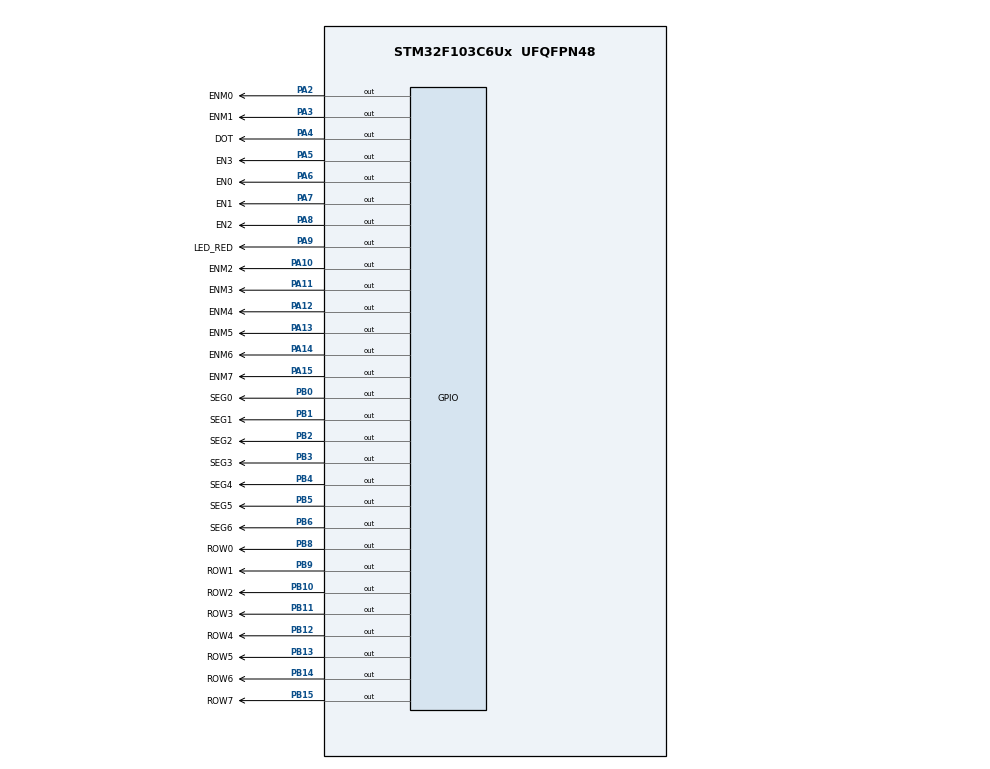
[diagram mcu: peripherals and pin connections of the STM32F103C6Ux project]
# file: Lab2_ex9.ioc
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Mcu.Family=STM32F1
Mcu.Name=STM32F103C6Ux
Mcu.Package=UFQFPN48
NVIC.PriorityGroup=NVIC_PRIORITYGROUP_4
NVIC.TIM2_IRQn=true\:0\:0\:false\:false\:true\:true\:true
PA10.GPIO_Label=ENM2
PA10.Signal=GPIO_Output
PA11.GPIO_Label=ENM3
PA11.Signal=GPIO_Output
PA12.GPIO_Label=ENM4
PA12.Signal=GPIO_Output
PA13.GPIO_Label=ENM5
PA13.Signal=GPIO_Output
PA14.GPIO_Label=ENM6
PA14.Signal=GPIO_Output
PA15.GPIO_Label=ENM7
PA15.Signal=GPIO_Output
PA2.GPIO_Label=ENM0
PA2.Signal=GPIO_Output
PA3.GPIO_Label=ENM1
PA3.Signal=GPIO_Output
PA4.GPIO_Label=DOT
PA4.Signal=GPIO_Output
PA5.GPIO_Label=EN3
PA5.Signal=GPIO_Output
PA6.GPIO_Label=EN0
PA6.Signal=GPIO_Output
PA7.GPIO_Label=EN1
PA7.Signal=GPIO_Output
PA8.GPIO_Label=EN2
PA8.Signal=GPIO_Output
PA9.GPIO_Label=LED_RED
PA9.Signal=GPIO_Output
PB0.GPIO_Label=SEG0
PB0.Signal=GPIO_Output
PB1.GPIO_Label=SEG1
PB1.Signal=GPIO_Output
PB10.GPIO_Label=ROW2
PB10.Signal=GPIO_Output
PB11.GPIO_Label=ROW3
PB11.Signal=GPIO_Output
PB12.GPIO_Label=ROW4
PB12.Signal=GPIO_Output
PB13.GPIO_Label=ROW5
PB13.Signal=GPIO_Output
PB14.GPIO_Label=ROW6
PB14.Signal=GPIO_Output
PB15.GPIO_Label=ROW7
PB15.Signal=GPIO_Output
PB2.GPIO_Label=SEG2
PB2.Signal=GPIO_Output
PB3.GPIO_Label=SEG3
PB3.Signal=GPIO_Output
PB4.GPIO_Label=SEG4
PB4.Signal=GPIO_Output
PB5.GPIO_Label=SEG5
PB5.Signal=GPIO_Output
PB6.GPIO_Label=SEG6
PB6.Signal=GPIO_Output
PB8.GPIO_Label=ROW0
PB8.Signal=GPIO_Output
PB9.GPIO_Label=ROW1
PB9.Signal=GPIO_Output
ProjectManager.HeapSize=0x200
ProjectManager.StackSize=0x400
ProjectManager.TargetToolchain=STM32CubeIDE
RCC.APB1Freq_Value=8000000
RCC.APB2Freq_Value=8000000
TIM2.Period=9
TIM2.Prescaler=7999
VP_SYS_VS_ND.Mode=No_Debug
VP_TIM2_VS_ClockSourceINT.Mode=Internal
board=custom

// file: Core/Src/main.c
/* USER CODE BEGIN Header */
/**
  ******************************************************************************
  * @file           : main.c
  * @brief          : Main program body
  ******************************************************************************
  * @attention
  *
  * <h2><center>&copy; Copyright (c) 2023 STMicroelectronics.
  * All rights reserved.</center></h2>
  *
  * This software component is licensed by ST under BSD 3-Clause license,
  * the "License"; You may not use this file except in compliance with the
  * License. You may obtain a copy of the License at:
  *                        opensource.org/licenses/BSD-3-Clause
  *
  ******************************************************************************
  */
/* USER CODE END Header */
#include "main.h"
#define MAX_LED_MATRIX  8

TIM_HandleTypeDef htim2;

void SystemClock_Config(void);
static void MX_GPIO_Init(void);
static void MX_TIM2_Init(void);

/* USER CODE BEGIN 0 */
enum LED_ENABLE_STATE {
	LED_0_EN = 0,
	LED_1_EN = 1,
	LED_2_EN = 2,
	LED_3_EN = 3
};
enum LED_ENABLE_STATE curLedState = LED_0_EN;
void display7SEG(int num) {
	switch(num) {
		case 0:
			HAL_GPIO_WritePin(SEG0_GPIO_Port, SEG0_Pin, 0);
			HAL_GPIO_WritePin(SEG1_GPIO_Port, SEG1_Pin, 0);
			HAL_GPIO_WritePin(SEG2_GPIO_Port, SEG2_Pin, 0);
			HAL_GPIO_WritePin(SEG3_GPIO_Port, SEG3_Pin, 0);
			HAL_GPIO_WritePin(SEG4_GPIO_Port, SEG4_Pin, 0);
			HAL_GPIO_WritePin(SEG5_GPIO_Port, SEG5_Pin, 0);
			HAL_GPIO_WritePin(SEG6_GPIO_Port, SEG6_Pin, 1);
			break;
		case 1:
			HAL_GPIO_WritePin(SEG0_GPIO_Port, SEG0_Pin, 1);
			HAL_GPIO_WritePin(SEG1_GPIO_Port, SEG1_Pin, 0);
			HAL_GPIO_WritePin(SEG2_GPIO_Port, SEG2_Pin, 0);
			HAL_GPIO_WritePin(SEG3_GPIO_Port, SEG3_Pin, 1);
			HAL_GPIO_WritePin(SEG4_GPIO_Port, SEG4_Pin, 1);
			HAL_GPIO_WritePin(SEG5_GPIO_Port, SEG5_Pin, 1);
			HAL_GPIO_WritePin(SEG6_GPIO_Port, SEG6_Pin, 1);
			break;
		case 2:
			HAL_GPIO_WritePin(SEG0_GPIO_Port, SEG0_Pin, 0);
			HAL_GPIO_WritePin(SEG1_GPIO_Port, SEG1_Pin, 0);
			HAL_GPIO_WritePin(SEG2_GPIO_Port, SEG2_Pin, 1);
			HAL_GPIO_WritePin(SEG3_GPIO_Port, SEG3_Pin, 0);
			HAL_GPIO_WritePin(SEG4_GPIO_Port, SEG4_Pin, 0);
			HAL_GPIO_WritePin(SEG5_GPIO_Port, SEG5_Pin, 1);
			HAL_GPIO_WritePin(SEG6_GPIO_Port, SEG6_Pin, 0);
			break;
		case 3:
			HAL_GPIO_WritePin(SEG0_GPIO_Port, SEG0_Pin, 0);
			HAL_GPIO_WritePin(SEG1_GPIO_Port, SEG1_Pin, 0);
			HAL_GPIO_WritePin(SEG2_GPIO_Port, SEG2_Pin, 0);
			HAL_GPIO_WritePin(SEG3_GPIO_Port, SEG3_Pin, 0);
			HAL_GPIO_WritePin(SEG4_GPIO_Port, SEG4_Pin, 1);
			HAL_GPIO_WritePin(SEG5_GPIO_Port, SEG5_Pin, 1);
			HAL_GPIO_WritePin(SEG6_GPIO_Port, SEG6_Pin, 0);
			break;
		case 4:
			HAL_GPIO_WritePin(SEG0_GPIO_Port, SEG0_Pin, 1);
			HAL_GPIO_WritePin(SEG1_GPIO_Port, SEG1_Pin, 0);
			HAL_GPIO_WritePin(SEG2_GPIO_Port, SEG2_Pin, 0);
			HAL_GPIO_WritePin(SEG3_GPIO_Port, SEG3_Pin, 1);
			HAL_GPIO_WritePin(SEG4_GPIO_Port, SEG4_Pin, 1);
			HAL_GPIO_WritePin(SEG5_GPIO_Port, SEG5_Pin, 0);
			HAL_GPIO_WritePin(SEG6_GPIO_Port, SEG6_Pin, 0);
			break;
		case 5:
			HAL_GPIO_WritePin(SEG0_GPIO_Port, SEG0_Pin, 0);
			HAL_GPIO_WritePin(SEG1_GPIO_Port, SEG1_Pin, 1);
			HAL_GPIO_WritePin(SEG2_GPIO_Port, SEG2_Pin, 0);
			HAL_GPIO_WritePin(SEG3_GPIO_Port, SEG3_Pin, 0);
			HAL_GPIO_WritePin(SEG4_GPIO_Port, SEG4_Pin, 1);
			HAL_GPIO_WritePin(SEG5_GPIO_Port, SEG5_Pin, 0);
			HAL_GPIO_WritePin(SEG6_GPIO_Port, SEG6_Pin, 0);
			break;
		case 6:
			HAL_GPIO_WritePin(SEG0_GPIO_Port, SEG0_Pin, 0);
			HAL_GPIO_WritePin(SEG1_GPIO_Port, SEG1_Pin, 1);
			HAL_GPIO_WritePin(SEG2_GPIO_Port, SEG2_Pin, 0);
			HAL_GPIO_WritePin(SEG3_GPIO_Port, SEG3_Pin, 0);
			HAL_GPIO_WritePin(SEG4_GPIO_Port, SEG4_Pin, 0);
			HAL_GPIO_WritePin(SEG5_GPIO_Port, SEG5_Pin, 0);
			HAL_GPIO_WritePin(SEG6_GPIO_Port, SEG6_Pin, 0);
			break;
		case 7:
			HAL_GPIO_WritePin(SEG0_GPIO_Port, SEG0_Pin, 0);
			HAL_GPIO_WritePin(SEG1_GPIO_Port, SEG1_Pin, 0);
			HAL_GPIO_WritePin(SEG2_GPIO_Port, SEG2_Pin, 0);
			HAL_GPIO_WritePin(SEG3_GPIO_Port, SEG3_Pin, 1);
			HAL_GPIO_WritePin(SEG4_GPIO_Port, SEG4_Pin, 1);
			HAL_GPIO_WritePin(SEG5_GPIO_Port, SEG5_Pin, 1);
			HAL_GPIO_WritePin(SEG6_GPIO_Port, SEG6_Pin, 1);
			break;
		case 8:
			HAL_GPIO_WritePin(SEG0_GPIO_Port, SEG0_Pin, 0);
			HAL_GPIO_WritePin(SEG1_GPIO_Port, SEG1_Pin, 0);
			HAL_GPIO_WritePin(SEG2_GPIO_Port, SEG2_Pin, 0);
			HAL_GPIO_WritePin(SEG3_GPIO_Port, SEG3_Pin, 0);
			HAL_GPIO_WritePin(SEG4_GPIO_Port, SEG4_Pin, 0);
			HAL_GPIO_WritePin(SEG5_GPIO_Port, SEG5_Pin, 0);
			HAL_GPIO_WritePin(SEG6_GPIO_Port, SEG6_Pin, 0);
			break;
		case 9:
			HAL_GPIO_WritePin(SEG0_GPIO_Port, SEG0_Pin, 0);
			HAL_GPIO_WritePin(SEG1_GPIO_Port, SEG1_Pin, 0);
			HAL_GPIO_WritePin(SEG2_GPIO_Port, SEG2_Pin, 0);
			HAL_GPIO_WritePin(SEG3_GPIO_Port, SEG3_Pin, 0);
			HAL_GPIO_WritePin(SEG4_GPIO_Port, SEG4_Pin, 1);
			HAL_GPIO_WritePin(SEG5_GPIO_Port, SEG5_Pin, 0);
			HAL_GPIO_WritePin(SEG6_GPIO_Port, SEG6_Pin, 0);
			break;
		default:
			HAL_GPIO_WritePin(SEG0_GPIO_Port, SEG0_Pin, 0);
			HAL_GPIO_WritePin(SEG1_GPIO_Port, SEG1_Pin, 0);
			HAL_GPIO_WritePin(SEG2_GPIO_Port, SEG2_Pin, 0);
			HAL_GPIO_WritePin(SEG3_GPIO_Port, SEG3_Pin, 0);
			HAL_GPIO_WritePin(SEG4_GPIO_Port, SEG4_Pin, 0);
			HAL_GPIO_WritePin(SEG5_GPIO_Port, SEG5_Pin, 0);
			HAL_GPIO_WritePin(SEG6_GPIO_Port, SEG6_Pin, 0);
			break;

	}
}
const int MAX_LED = 4;
int index_led = 0;
int led_buffer[4] = {1, 5, 0, 8};
void update7SEG(int index){
    switch (index){
		  case 0:
			  HAL_GPIO_WritePin(EN3_GPIO_Port, EN3_Pin, 1);
			  display7SEG(led_buffer[0]);
			  HAL_GPIO_WritePin(EN0_GPIO_Port, EN0_Pin, 0);
			  HAL_GPIO_WritePin(EN1_GPIO_Port, EN1_Pin, 1);
			  HAL_GPIO_WritePin(EN2_GPIO_Port, EN2_Pin, 1);
			  break;
		  case 1:
	  		  HAL_GPIO_WritePin(EN0_GPIO_Port, EN0_Pin, 1);
	  		  display7SEG(led_buffer[1]);
	  		  HAL_GPIO_WritePin(EN1_GPIO_Port, EN1_Pin, 0);
	  		  HAL_GPIO_WritePin(EN2_GPIO_Port, EN2_Pin, 1);
	  		  HAL_GPIO_WritePin(EN3_GPIO_Port, EN3_Pin, 1);
	  		  break;
	  	  case 2:
	  		  HAL_GPIO_WritePin(EN0_GPIO_Port, EN0_Pin, 1);
	  		  HAL_GPIO_WritePin(EN1_GPIO_Port, EN1_Pin, 1);
	  		  display7SEG(led_buffer[2]);
	  		  HAL_GPIO_WritePin(EN2_GPIO_Port, EN2_Pin, 0);
	  		  HAL_GPIO_WritePin(EN3_GPIO_Port, EN3_Pin, 1);
	  		  break;
	  	  case 3:
	  		  HAL_GPIO_WritePin(EN0_GPIO_Port, EN0_Pin, 1);
			  HAL_GPIO_WritePin(EN1_GPIO_Port, EN1_Pin, 1);
			  HAL_GPIO_WritePin(EN2_GPIO_Port, EN2_Pin, 1);
	  		  display7SEG(led_buffer[3]);
	  		  HAL_GPIO_WritePin(EN3_GPIO_Port, EN3_Pin, 0);
	  		  break;
        default:
            break;
    }
}
int hour = 15, minute = 8, second = 50;
int sencond_flag = 0;
int swap_led_flag = 0;
void updateClockBuffer() {
	int hour_decode_1 = hour / 10;
	int hour_decode_2 = hour % 10;
	int minute_decode_1 = minute / 10;
	int minute_decode_2 = minute % 10;
	led_buffer[0] = hour_decode_1;
	led_buffer[1] = hour_decode_2;
	led_buffer[2] = minute_decode_1;
	led_buffer[3] = minute_decode_2;
}

int rowScanning_flag = 0;
int charShifting_flag = 0;
int CHAR_A_TABLE[MAX_LED_MATRIX][MAX_LED_MATRIX] =
{
		{1, 1, 1, 0, 0, 1, 1, 1},
		{1, 1, 0, 1, 1, 0, 1, 1},
		{1, 1, 0, 1, 1, 0, 1, 1},
		{1, 0, 0, 1, 1, 0, 0, 1},
		{1, 0, 0, 0, 0, 0, 0, 1},
		{1, 0, 1, 1, 1, 1, 0, 1},
		{1, 0, 1, 1, 1, 1, 0, 1},
		{1, 0, 1, 1, 1, 1, 0, 1}
};
int index_led_matrix = 0;
int cursor_matrix = 0;
uint8_t matrix_buffer[8] = {0x01, 0x02, 0x03, 0x04, 0x05, 0x06, 0x07, 0x08};
void updateLEDMatrix(int index){
    switch (index){
        case 0:
        	HAL_GPIO_WritePin(ROW0_GPIO_Port, ROW0_Pin, RESET);
        	HAL_GPIO_WritePin(ROW1_GPIO_Port, ROW1_Pin, SET);
        	HAL_GPIO_WritePin(ROW2_GPIO_Port, ROW2_Pin, SET);
        	HAL_GPIO_WritePin(ROW3_GPIO_Port, ROW3_Pin, SET);
        	HAL_GPIO_WritePin(ROW4_GPIO_Port, ROW4_Pin, SET);
        	HAL_GPIO_WritePin(ROW5_GPIO_Port, ROW5_Pin, SET);
        	HAL_GPIO_WritePin(ROW6_GPIO_Port, ROW6_Pin, SET);
        	HAL_GPIO_WritePin(ROW7_GPIO_Port, ROW7_Pin, SET);
            break;
        case 1:
        	HAL_GPIO_WritePin(ROW0_GPIO_Port, ROW0_Pin, SET);
        	HAL_GPIO_WritePin(ROW1_GPIO_Port, ROW1_Pin, RESET);
        	HAL_GPIO_WritePin(ROW2_GPIO_Port, ROW2_Pin, SET);
        	HAL_GPIO_WritePin(ROW3_GPIO_Port, ROW3_Pin, SET);
        	HAL_GPIO_WritePin(ROW4_GPIO_Port, ROW4_Pin, SET);
        	HAL_GPIO_WritePin(ROW5_GPIO_Port, ROW5_Pin, SET);
        	HAL_GPIO_WritePin(ROW6_GPIO_Port, ROW6_Pin, SET);
        	HAL_GPIO_WritePin(ROW7_GPIO_Port, ROW7_Pin, SET);
            break;
        case 2:
        	HAL_GPIO_WritePin(ROW0_GPIO_Port, ROW0_Pin, SET);
        	HAL_GPIO_WritePin(ROW1_GPIO_Port, ROW1_Pin, SET);
        	HAL_GPIO_WritePin(ROW2_GPIO_Port, ROW2_Pin, RESET);
        	HAL_GPIO_WritePin(ROW3_GPIO_Port, ROW3_Pin, SET);
        	HAL_GPIO_WritePin(ROW4_GPIO_Port, ROW4_Pin, SET);
        	HAL_GPIO_WritePin(ROW5_GPIO_Port, ROW5_Pin, SET);
        	HAL_GPIO_WritePin(ROW6_GPIO_Port, ROW6_Pin, SET);
        	HAL_GPIO_WritePin(ROW7_GPIO_Port, ROW7_Pin, SET);
            break;
        case 3:
        	HAL_GPIO_WritePin(ROW0_GPIO_Port, ROW0_Pin, SET);
        	HAL_GPIO_WritePin(ROW1_GPIO_Port, ROW1_Pin, SET);
        	HAL_GPIO_WritePin(ROW2_GPIO_Port, ROW2_Pin, SET);
        	HAL_GPIO_WritePin(ROW3_GPIO_Port, ROW3_Pin, RESET);
        	HAL_GPIO_WritePin(ROW4_GPIO_Port, ROW4_Pin, SET);
        	HAL_GPIO_WritePin(ROW5_GPIO_Port, ROW5_Pin, SET);
        	HAL_GPIO_WritePin(ROW6_GPIO_Port, ROW6_Pin, SET);
        	HAL_GPIO_WritePin(ROW7_GPIO_Port, ROW7_Pin, SET);
            break;
        case 4:
        	HAL_GPIO_WritePin(ROW0_GPIO_Port, ROW0_Pin, SET);
        	HAL_GPIO_WritePin(ROW1_GPIO_Port, ROW1_Pin, SET);
        	HAL_GPIO_WritePin(ROW2_GPIO_Port, ROW2_Pin, SET);
        	HAL_GPIO_WritePin(ROW3_GPIO_Port, ROW3_Pin, SET);
        	HAL_GPIO_WritePin(ROW4_GPIO_Port, ROW4_Pin, RESET);
        	HAL_GPIO_WritePin(ROW5_GPIO_Port, ROW5_Pin, SET);
        	HAL_GPIO_WritePin(ROW6_GPIO_Port, ROW6_Pin, SET);
        	HAL_GPIO_WritePin(ROW7_GPIO_Port, ROW7_Pin, SET);
            break;
        case 5:
        	HAL_GPIO_WritePin(ROW0_GPIO_Port, ROW0_Pin, SET);
        	HAL_GPIO_WritePin(ROW1_GPIO_Port, ROW1_Pin, SET);
        	HAL_GPIO_WritePin(ROW2_GPIO_Port, ROW2_Pin, SET);
        	HAL_GPIO_WritePin(ROW3_GPIO_Port, ROW3_Pin, SET);
        	HAL_GPIO_WritePin(ROW4_GPIO_Port, ROW4_Pin, SET);
        	HAL_GPIO_WritePin(ROW5_GPIO_Port, ROW5_Pin, RESET);
        	HAL_GPIO_WritePin(ROW6_GPIO_Port, ROW6_Pin, SET);
        	HAL_GPIO_WritePin(ROW7_GPIO_Port, ROW7_Pin, SET);
            break;
        case 6:
        	HAL_GPIO_WritePin(ROW0_GPIO_Port, ROW0_Pin, SET);
        	HAL_GPIO_WritePin(ROW1_GPIO_Port, ROW1_Pin, SET);
        	HAL_GPIO_WritePin(ROW2_GPIO_Port, ROW2_Pin, SET);
        	HAL_GPIO_WritePin(ROW3_GPIO_Port, ROW3_Pin, SET);
        	HAL_GPIO_WritePin(ROW4_GPIO_Port, ROW4_Pin, SET);
        	HAL_GPIO_WritePin(ROW5_GPIO_Port, ROW5_Pin, SET);
        	HAL_GPIO_WritePin(ROW6_GPIO_Port, ROW6_Pin, RESET);
        	HAL_GPIO_WritePin(ROW7_GPIO_Port, ROW7_Pin, SET);
            break;
        case 7:
        	HAL_GPIO_WritePin(ROW0_GPIO_Port, ROW0_Pin, SET);
        	HAL_GPIO_WritePin(ROW1_GPIO_Port, ROW1_Pin, SET);
        	HAL_GPIO_WritePin(ROW2_GPIO_Port, ROW2_Pin, SET);
        	HAL_GPIO_WritePin(ROW3_GPIO_Port, ROW3_Pin, SET);
        	HAL_GPIO_WritePin(ROW4_GPIO_Port, ROW4_Pin, SET);
        	HAL_GPIO_WritePin(ROW5_GPIO_Port, ROW5_Pin, SET);
        	HAL_GPIO_WritePin(ROW6_GPIO_Port, ROW6_Pin, SET);
        	HAL_GPIO_WritePin(ROW7_GPIO_Port, ROW7_Pin, RESET);
            break;
        default:
            break;
    }
}
void ledMatrixDispRow(int elementColEnable[], int cursor) {
	if(cursor + 0 <= 7) {
		HAL_GPIO_WritePin(ENM0_GPIO_Port, ENM0_Pin, elementColEnable[0 + cursor]);
	}
	else HAL_GPIO_WritePin(ENM0_GPIO_Port, ENM0_Pin, 1);
	if(cursor + 1 <= 7) {
		HAL_GPIO_WritePin(ENM1_GPIO_Port, ENM1_Pin, elementColEnable[1 + cursor]);
	}
	else HAL_GPIO_WritePin(ENM1_GPIO_Port, ENM1_Pin, 1);
	if(cursor + 2 <= 7) {
		HAL_GPIO_WritePin(ENM2_GPIO_Port, ENM2_Pin, elementColEnable[2 + cursor]);
	}
	else HAL_GPIO_WritePin(ENM2_GPIO_Port, ENM2_Pin, 1);
	if(cursor + 3 <= 7) {
		HAL_GPIO_WritePin(ENM3_GPIO_Port, ENM3_Pin, elementColEnable[3 + cursor]);
	}
	else HAL_GPIO_WritePin(ENM3_GPIO_Port, ENM3_Pin, 1);
	if(cursor + 4 <= 7) {
		HAL_GPIO_WritePin(ENM4_GPIO_Port, ENM4_Pin, elementColEnable[4 + cursor]);
	}
	else HAL_GPIO_WritePin(ENM4_GPIO_Port, ENM4_Pin, 1);
	if(cursor + 5 <= 7) {
		HAL_GPIO_WritePin(ENM5_GPIO_Port, ENM5_Pin, elementColEnable[5 + cursor]);
	}
	else HAL_GPIO_WritePin(ENM5_GPIO_Port, ENM5_Pin, 1);
	if(cursor + 6 <= 7) {
		HAL_GPIO_WritePin(ENM6_GPIO_Port, ENM6_Pin, elementColEnable[6 + cursor]);
	}
	else HAL_GPIO_WritePin(ENM6_GPIO_Port, ENM6_Pin, 1);
	if(cursor + 7 <= 7) {
		HAL_GPIO_WritePin(ENM7_GPIO_Port, ENM7_Pin, elementColEnable[7 + cursor]);
	}
	else HAL_GPIO_WritePin(ENM7_GPIO_Port, ENM7_Pin, 1);
}
/* USER CODE END 0 */

int main(void)
{

  /* MCU Configuration--------------------------------------------------------*/

  /* Reset of all peripherals, Initializes the Flash interface and the Systick. */
  HAL_Init();

  /* Configure the system clock */
  SystemClock_Config();

  /* Initialize all configured peripherals */
  MX_GPIO_Init();
  MX_TIM2_Init();
  /* USER CODE BEGIN 2 */
  HAL_TIM_Base_Start_IT(&htim2);
  /* USER CODE END 2 */

  /* Infinite loop */
  while (1)
  {
	  if(rowScanning_flag) {
		  rowScanning_flag = 0;
		  updateLEDMatrix(index_led_matrix);
		  ledMatrixDispRow(CHAR_A_TABLE[index_led_matrix], cursor_matrix);
		  index_led_matrix = (index_led_matrix + 1) % MAX_LED_MATRIX;
	  }
	  if(charShifting_flag) {
		  charShifting_flag = 0;
		  cursor_matrix = (cursor_matrix + 1) % MAX_LED_MATRIX;

	  }
  }
}

void SystemClock_Config(void)
{
  RCC_OscInitTypeDef RCC_OscInitStruct = {0};
  RCC_ClkInitTypeDef RCC_ClkInitStruct = {0};

  /** Initializes the RCC Oscillators according to the specified parameters
  * in the RCC_OscInitTypeDef structure.
  */
  RCC_OscInitStruct.OscillatorType = RCC_OSCILLATORTYPE_HSI;
  RCC_OscInitStruct.HSIState = RCC_HSI_ON;
  RCC_OscInitStruct.HSICalibrationValue = RCC_HSICALIBRATION_DEFAULT;
  RCC_OscInitStruct.PLL.PLLState = RCC_PLL_NONE;
  if (HAL_RCC_OscConfig(&RCC_OscInitStruct) != HAL_OK)
  {
    Error_Handler();
  }
  /** Initializes the CPU, AHB and APB buses clocks
  */
  RCC_ClkInitStruct.ClockType = RCC_CLOCKTYPE_HCLK|RCC_CLOCKTYPE_SYSCLK
                              |RCC_CLOCKTYPE_PCLK1|RCC_CLOCKTYPE_PCLK2;
  RCC_ClkInitStruct.SYSCLKSource = RCC_SYSCLKSOURCE_HSI;
  RCC_ClkInitStruct.AHBCLKDivider = RCC_SYSCLK_DIV1;
  RCC_ClkInitStruct.APB1CLKDivider = RCC_HCLK_DIV1;
  RCC_ClkInitStruct.APB2CLKDivider = RCC_HCLK_DIV1;

  if (HAL_RCC_ClockConfig(&RCC_ClkInitStruct, FLASH_LATENCY_0) != HAL_OK)
  {
    Error_Handler();
  }
}

static void MX_TIM2_Init(void)
{

  TIM_ClockConfigTypeDef sClockSourceConfig = {0};
  TIM_MasterConfigTypeDef sMasterConfig = {0};

  htim2.Instance = TIM2;
  htim2.Init.Prescaler = 7999;
  htim2.Init.CounterMode = TIM_COUNTERMODE_UP;
  htim2.Init.Period = 9;
  htim2.Init.ClockDivision = TIM_CLOCKDIVISION_DIV1;
  htim2.Init.AutoReloadPreload = TIM_AUTORELOAD_PRELOAD_DISABLE;
  if (HAL_TIM_Base_Init(&htim2) != HAL_OK)
  {
    Error_Handler();
  }
  sClockSourceConfig.ClockSource = TIM_CLOCKSOURCE_INTERNAL;
  if (HAL_TIM_ConfigClockSource(&htim2, &sClockSourceConfig) != HAL_OK)
  {
    Error_Handler();
  }
  sMasterConfig.MasterOutputTrigger = TIM_TRGO_RESET;
  sMasterConfig.MasterSlaveMode = TIM_MASTERSLAVEMODE_DISABLE;
  if (HAL_TIMEx_MasterConfigSynchronization(&htim2, &sMasterConfig) != HAL_OK)
  {
    Error_Handler();
  }

}

static void MX_GPIO_Init(void)
{
  GPIO_InitTypeDef GPIO_InitStruct = {0};

  /* GPIO Ports Clock Enable */
  __HAL_RCC_GPIOA_CLK_ENABLE();
  __HAL_RCC_GPIOB_CLK_ENABLE();

  /*Configure GPIO pin Output Level */
  HAL_GPIO_WritePin(GPIOA, ENM0_Pin|ENM1_Pin|DOT_Pin|EN3_Pin
                          |EN0_Pin|EN1_Pin|EN2_Pin|LED_RED_Pin
                          |ENM2_Pin|ENM3_Pin|ENM4_Pin|ENM5_Pin
                          |ENM6_Pin|ENM7_Pin, GPIO_PIN_RESET);

  /*Configure GPIO pin Output Level */
  HAL_GPIO_WritePin(GPIOB, SEG0_Pin|SEG1_Pin|SEG2_Pin|ROW2_Pin
                          |ROW3_Pin|ROW4_Pin|ROW5_Pin|ROW6_Pin
                          |ROW7_Pin|SEG3_Pin|SEG4_Pin|SEG5_Pin
                          |SEG6_Pin|ROW0_Pin|ROW1_Pin, GPIO_PIN_RESET);

  /*Configure GPIO pins : ENM0_Pin ENM1_Pin DOT_Pin EN3_Pin
                           EN0_Pin EN1_Pin EN2_Pin LED_RED_Pin
                           ENM2_Pin ENM3_Pin ENM4_Pin ENM5_Pin
                           ENM6_Pin ENM7_Pin */
  GPIO_InitStruct.Pin = ENM0_Pin|ENM1_Pin|DOT_Pin|EN3_Pin
                          |EN0_Pin|EN1_Pin|EN2_Pin|LED_RED_Pin
                          |ENM2_Pin|ENM3_Pin|ENM4_Pin|ENM5_Pin
                          |ENM6_Pin|ENM7_Pin;
  GPIO_InitStruct.Mode = GPIO_MODE_OUTPUT_PP;
  GPIO_InitStruct.Pull = GPIO_NOPULL;
  GPIO_InitStruct.Speed = GPIO_SPEED_FREQ_LOW;
  HAL_GPIO_Init(GPIOA, &GPIO_InitStruct);

  /*Configure GPIO pins : SEG0_Pin SEG1_Pin SEG2_Pin ROW2_Pin
                           ROW3_Pin ROW4_Pin ROW5_Pin ROW6_Pin
                           ROW7_Pin SEG3_Pin SEG4_Pin SEG5_Pin
                           SEG6_Pin ROW0_Pin ROW1_Pin */
  GPIO_InitStruct.Pin = SEG0_Pin|SEG1_Pin|SEG2_Pin|ROW2_Pin
                          |ROW3_Pin|ROW4_Pin|ROW5_Pin|ROW6_Pin
                          |ROW7_Pin|SEG3_Pin|SEG4_Pin|SEG5_Pin
                          |SEG6_Pin|ROW0_Pin|ROW1_Pin;
  GPIO_InitStruct.Mode = GPIO_MODE_OUTPUT_PP;
  GPIO_InitStruct.Pull = GPIO_NOPULL;
  GPIO_InitStruct.Speed = GPIO_SPEED_FREQ_LOW;
  HAL_GPIO_Init(GPIOB, &GPIO_InitStruct);

}

/* USER CODE BEGIN 4 */
#define COL_SCANNING_LIMIT 	2					// 10ms
#define CHAR_SHIFTING_LIMIT 500					// 0.5s
int rowScanning_counter = COL_SCANNING_LIMIT;
int charShifting_counter = CHAR_SHIFTING_LIMIT;
void HAL_TIM_PeriodElapsedCallback(TIM_HandleTypeDef *htim){
	rowScanning_counter--;
	charShifting_counter--;
	if(rowScanning_counter == 0) {
		rowScanning_flag = 1;
		rowScanning_counter = COL_SCANNING_LIMIT;
	}
	if(charShifting_counter == 0) {
		charShifting_flag = 1;
		charShifting_counter = CHAR_SHIFTING_LIMIT;
	}
}
/* USER CODE END 4 */

void Error_Handler(void)
{
  __disable_irq();
  while (1)
  {
  }
}

/************************ (C) COPYRIGHT STMicroelectronics *****END OF FILE****/
